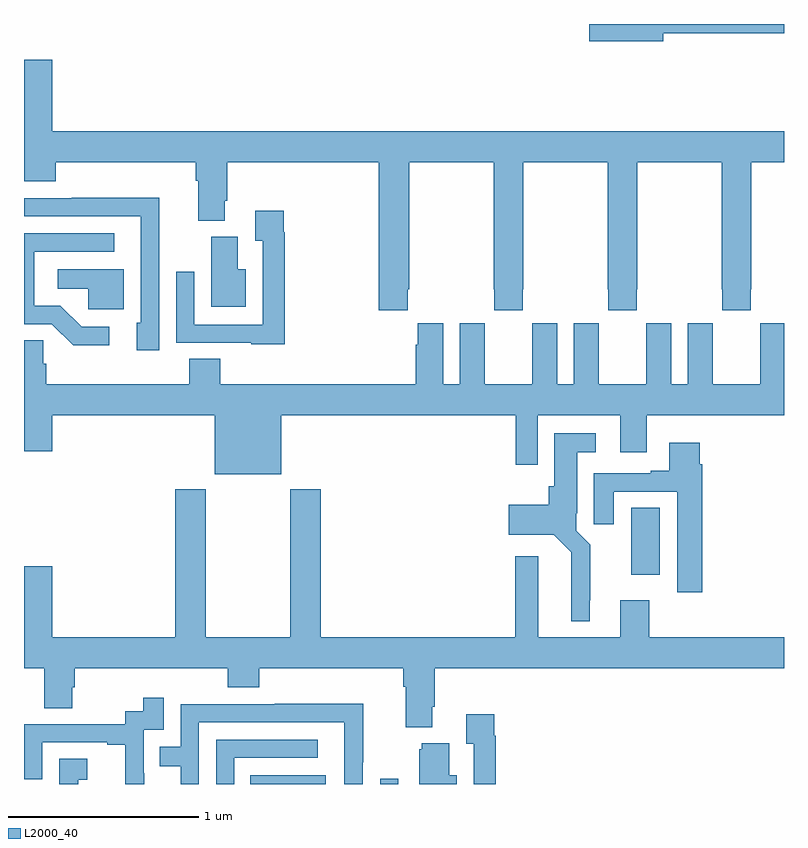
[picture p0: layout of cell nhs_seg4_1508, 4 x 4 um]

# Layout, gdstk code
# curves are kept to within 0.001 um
import gdstk
lib = gdstk.Library(unit=1e-6, precision=1e-09)
def R(c, l, rs):  # rectangles x0, y0, x1, y1
    for r in rs: c.add(gdstk.rectangle(r[:2], r[2:], *l))
def P(c, l, *ps):  # polygons
    for p in ps: c.add(gdstk.Polygon(p, *l))
L2000_40 = (2000, 40)

nhs_seg4_1508 = lib.new_cell('nhs_seg4_1508')
R(nhs_seg4_1508, L2000_40, [(190.192,774.9,190.588,774.946), (190.875,774.9,190.971,774.928), (192.197,776.001,192.346,776.354)])
P(nhs_seg4_1508, L2000_40, [(192.364,778.852),(193,778.852),(193,778.9),(191.976,778.9),(191.976,778.81),(192.364,778.81)],
  [(189.148,778.711),(189,778.711),(189,778.172),(189.002,778.172),(189.002,778.073),(189.167,778.073),(189.167,778.172),(189.905,778.172),(189.905,778.076),(189.917,778.076),(189.917,777.865),(190.057,777.865),(190.057,777.97),(190.07,777.97),(190.07,778.172),(190.868,778.172),(190.868,777.393),(191.021,777.393),(191.021,777.505),(191.028,777.505),(191.028,778.172),(191.473,778.172),(191.473,777.505),(191.475,777.505),(191.475,777.393),(191.625,777.393),(191.625,777.505),(191.628,777.505),(191.628,778.172),(192.073,778.172),(192.073,777.505),(192.075,777.505),(192.075,777.393),(192.225,777.393),(192.225,777.505),(192.228,777.505),(192.228,778.172),(192.673,778.172),(192.673,777.505),(192.675,777.505),(192.675,777.393),(192.825,777.393),(192.825,777.505),(192.828,777.505),(192.828,778.172),(193,778.172),(193,778.336),(189.148,778.336)],
  [(189.711,777.682),(189.713,777.682),(189.713,777.986),(189.25,777.986),(189.25,777.984),(189,777.984),(189,777.888),(189.615,777.888),(189.615,777.327),(189.593,777.327),(189.593,777.183),(189.711,777.183)],
  [(190.373,777.803),(190.366,777.803),(190.366,777.916),(190.217,777.916),(190.217,777.76),(190.257,777.76),(190.257,777.318),(189.897,777.318),(189.897,777.595),(189.801,777.595),(189.801,777.222),(190.197,777.222),(190.197,777.215),(190.373,777.215)],
  [(189.448,777.306),(189.303,777.306),(189.192,777.417),(189.054,777.417),(189.054,777.702),(189.475,777.702),(189.475,777.798),(189,777.798),(189,777.321),(189.147,777.321),(189.26,777.209),(189.448,777.209)],
  [(190.168,777.61),(190.126,777.61),(190.126,777.78),(189.986,777.78),(189.986,777.413),(190.168,777.413)],
  [(189.526,777.61),(189.177,777.61),(189.177,777.506),(189.339,777.506),(189.339,777.399),(189.526,777.399)],
  [(191.894,777.325),(191.894,777.004),(191.806,777.004),(191.806,777.325),(191.676,777.325),(191.676,777.212),(191.675,777.212),(191.675,777.004),(191.425,777.004),(191.425,777.212),(191.424,777.212),(191.424,777.325),(191.294,777.325),(191.294,777.004),(191.206,777.004),(191.206,777.325),(191.072,777.325),(191.072,777.212),(191.063,777.212),(191.063,777.004),(190.034,777.004),(190.034,777.137),(189.869,777.137),(189.869,777.004),(189.116,777.004),(189.116,777.113),(189.102,777.113),(189.102,777.236),(189,777.236),(189,776.652),(189.148,776.652),(189.148,776.84),(190.004,776.84),(190.004,776.531),(190.354,776.531),(190.354,776.84),(191.587,776.84),(191.587,776.58),(191.703,776.58),(191.703,776.84),(192.137,776.84),(192.137,776.646),(192.277,776.646),(192.277,776.84),(193,776.84),(193,777.325),(192.876,777.325),(192.876,777.212),(192.875,777.212),(192.875,777.004),(192.625,777.004),(192.625,777.212),(192.624,777.212),(192.624,777.325),(192.494,777.325),(192.494,777.004),(192.406,777.004),(192.406,777.325),(192.276,777.325),(192.276,777.212),(192.275,777.212),(192.275,777.004),(192.025,777.004),(192.025,777.212),(192.024,777.212),(192.024,777.325)],
  [(191.977,775.867),(191.981,775.867),(191.981,776.158),(191.907,776.232),(191.907,776.326),(191.911,776.326),(191.911,776.645),(192.01,776.645),(192.01,776.746),(191.792,776.746),(191.792,776.466),(191.762,776.466),(191.762,776.371),(191.55,776.371),(191.55,776.213),(191.787,776.213),(191.88,776.12),(191.879,775.757),(191.977,775.757)],
  [(192.569,776.582),(192.556,776.582),(192.556,776.695),(192.395,776.695),(192.395,776.548),(192.299,776.548),(192.299,776.535),(191.999,776.535),(191.999,776.268),(192.103,776.268),(192.103,776.439),(192.437,776.439),(192.437,775.908),(192.569,775.908)],
  [(193,775.672),(192.29,775.672),(192.29,775.867),(192.137,775.867),(192.137,775.672),(191.707,775.672),(191.707,776.098),(191.585,776.098),(191.585,775.672),(190.562,775.672),(190.562,776.452),(190.402,776.452),(190.402,775.672),(189.957,775.672),(189.957,776.452),(189.797,776.452),(189.797,775.672),(189.148,775.672),(189.148,776.047),(189,776.047),(189,775.508),(189.106,775.508),(189.106,775.3),(189.253,775.3),(189.253,775.41),(189.266,775.41),(189.266,775.508),(190.073,775.508),(190.073,775.409),(190.238,775.409),(190.238,775.508),(190.997,775.508),(190.997,775.412),(191.009,775.412),(191.009,775.199),(191.149,775.199),(191.149,775.306),(191.162,775.306),(191.162,775.508),(193,775.508)],
  [(189.632,774.956),(189.63,774.956),(189.63,775.185),(189.735,775.185),(189.735,775.354),(189.627,775.354),(189.627,775.284),(189.534,775.284),(189.534,775.215),(189,775.215),(189,774.924),(189.096,774.924),(189.096,775.119),(189.437,775.119),(189.437,775.107),(189.533,775.107),(189.533,774.9),(189.632,774.9)],
  [(189.921,775.224),(190.685,775.224),(190.685,774.97),(190.686,774.97),(190.686,774.9),(190.782,774.9),(190.782,775.015),(190.785,775.015),(190.785,775.322),(190.321,775.322),(190.321,775.32),(189.825,775.32),(189.825,775.095),(189.715,775.095),(189.715,774.994),(189.825,774.994),(189.825,774.9),(189.921,774.9)],
  [(191.483,775.154),(191.476,775.154),(191.476,775.267),(191.327,775.267),(191.327,775.111),(191.367,775.111),(191.367,774.9),(191.483,774.9)],
  [(190.107,775.038),(190.546,775.038),(190.546,775.134),(190.011,775.134),(190.011,774.9),(190.107,774.9)],
  [(191.278,774.946),(191.239,774.946),(191.239,775.114),(191.093,775.114),(191.093,775.083),(191.081,775.083),(191.081,774.9),(191.278,774.9)],
  [(189.285,774.923),(189.334,774.923),(189.334,775.033),(189.186,775.033),(189.186,774.9),(189.285,774.9)])

lib.write_gds('nhs_seg4_1508.gds')
